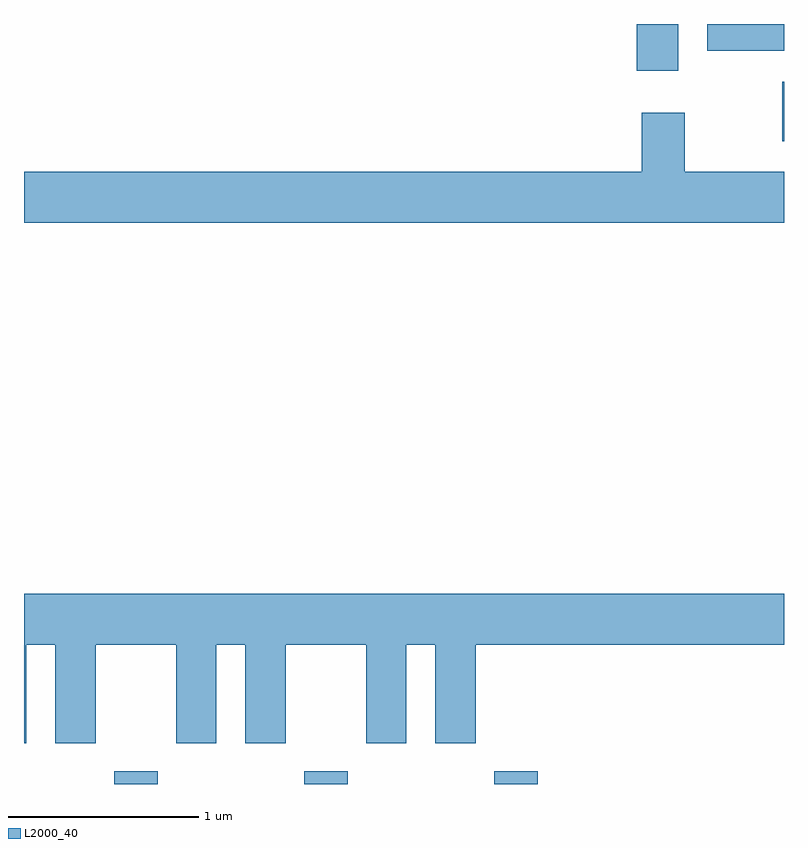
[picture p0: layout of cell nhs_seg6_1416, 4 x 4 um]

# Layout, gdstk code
import gdstk
lib = gdstk.Library(unit=1e-6, precision=1e-09)
def R(c, l, rs):  # rectangles x0, y0, x1, y1
    for r in rs: c.add(gdstk.rectangle(r[:2], r[2:], *l))
def A(c, l, x, y, w, h, nx, ny, dx, dy):  # array of equal rectangles
    R(c, l, [(x+i*dx, y+j*dy, x+i*dx+w, y+j*dy+h) for i in range(nx) for j in range(ny)])
def P(c, l, *ps):  # polygons
    for p in ps: c.add(gdstk.Polygon(p, *l))
L2000_40 = (2000, 40)

nhs_seg6_1416 = lib.new_cell('nhs_seg6_1416')
A(nhs_seg6_1416, L2000_40, 228.086, 1578.162, 0.228, 0.067, 3, 1, 1, 0)
R(nhs_seg6_1416, L2000_40, [(231.601,1581.546,231.611,1581.859), (230.836,1581.916,231.054,1582.162), (231.206,1582.021,231.611,1582.162)])
P(nhs_seg6_1416, L2000_40, [(231.611,1581.384),(231.089,1581.384),(231.089,1581.694),(230.861,1581.694),(230.861,1581.384),(227.611,1581.384),(227.611,1581.116),(231.611,1581.116)],
  [(227.624,1578.896),(227.776,1578.896),(227.776,1578.376),(227.989,1578.376),(227.989,1578.896),(228.411,1578.896),(228.411,1578.376),(228.624,1578.376),(228.624,1578.896),(228.776,1578.896),(228.776,1578.376),(228.989,1578.376),(228.989,1578.896),(229.411,1578.896),(229.411,1578.376),(229.624,1578.376),(229.624,1578.896),(229.776,1578.896),(229.776,1578.376),(229.989,1578.376),(229.989,1578.896),(231.611,1578.896),(231.611,1579.164),(227.611,1579.164),(227.611,1578.376),(227.624,1578.376)])

lib.write_gds('nhs_seg6_1416.gds')
